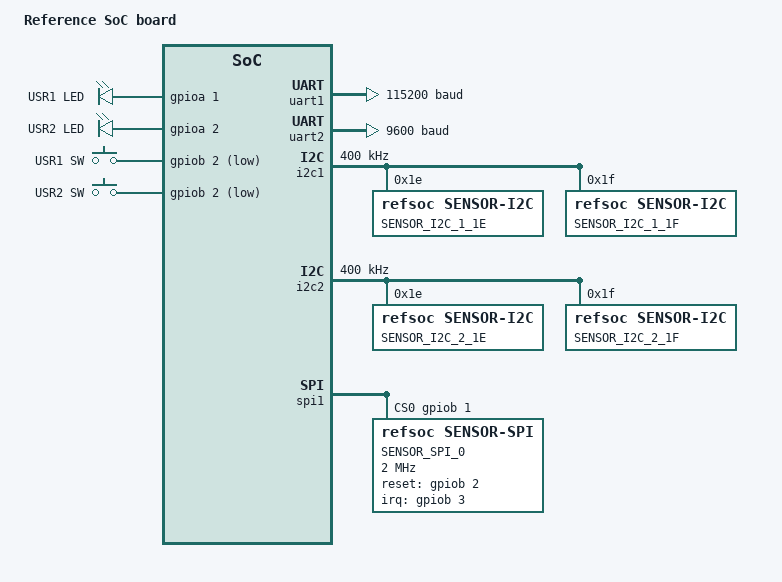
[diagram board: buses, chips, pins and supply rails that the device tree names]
/*
 * Copyright (c) 2018 Linaro Limited
 *
 * SPDX-License-Identifier: Apache-2.0
 */
/dts-v1/;

#include <refsoc/refsoc.dtsi>

/ {
	model = "Reference SoC board";
	compatible = "refsoc,refboard";

	chosen {
		zephyr,console = &uart1;
	};

	leds {
		compatible = "gpio-leds";
		green_led_1: led_1 {
			gpios = <&gpioa 1 GPIO_INT_ACTIVE_HIGH>;
			label = "USR1 LED";
		};
		green_led_2: led_2 {
			gpios = <&gpioa 2 GPIO_INT_ACTIVE_HIGH>;
			label = "USR2 LED";
		};
	};

	gpio_keys {
		compatible = "gpio-keys";
		user_button_1: button_1 {
			label = "USR1 SW";
			gpios = <&gpiob 2 GPIO_INT_ACTIVE_LOW>;
		};
		user_button_2: button_2 {
			label = "USR2 SW";
			gpios = <&gpiob 2 GPIO_INT_ACTIVE_LOW>;
		};
	};

	aliases {
		led0 = &green_led_1;
		led1 = &green_led_2;
		sw0 = &user_button_1;
		sw1 = &user_button_2;
	};
};

&gpioa {
	status = "ok";
};

&gpiob {
	status = "ok";
};

&uart1 {
	status = "ok";
	current-speed = <115200>;
};

&uart2 {
	status = "ok";
	current-speed = <9600>;
};

&i2c1 {
	status = "ok";
	clock-frequency = <I2C_BITRATE_FAST>;

	refsoc-sensor@1e {
		compatible = "refsoc,sensor-i2c";
		reg = <0x1e>;
		label = "SENSOR_I2C_1_1E";
	};

	refsoc-sensor@1f {
		compatible = "refsoc,sensor-i2c";
		reg = <0x1f>;
		label = "SENSOR_I2C_1_1F";
	};
};

&i2c2 {
	status = "ok";
	clock-frequency = <I2C_BITRATE_FAST>;

	sensor-i2c@1e {
		compatible = "refsoc,sensor-i2c";
		reg = <0x1e>;
		label = "SENSOR_I2C_2_1E";
	};

	sensor-i2c@1f {
		compatible = "refsoc,sensor-i2c";
		reg = <0x1f>;
		label = "SENSOR_I2C_2_1F";
	};
};

&spi1 {
	status = "ok";

	cs-gpios = <&gpiob 1 0>;

	sensor-spi@0 {
		compatible = "refsoc,sensor-spi";
		reg = <0>;
		reset-gpios = <&gpiob 2 0>;
		irq-gpios = <&gpiob 3 0>;
		spi-max-frequency = <2000000>;
		label = "SENSOR_SPI_0";
	};
};
